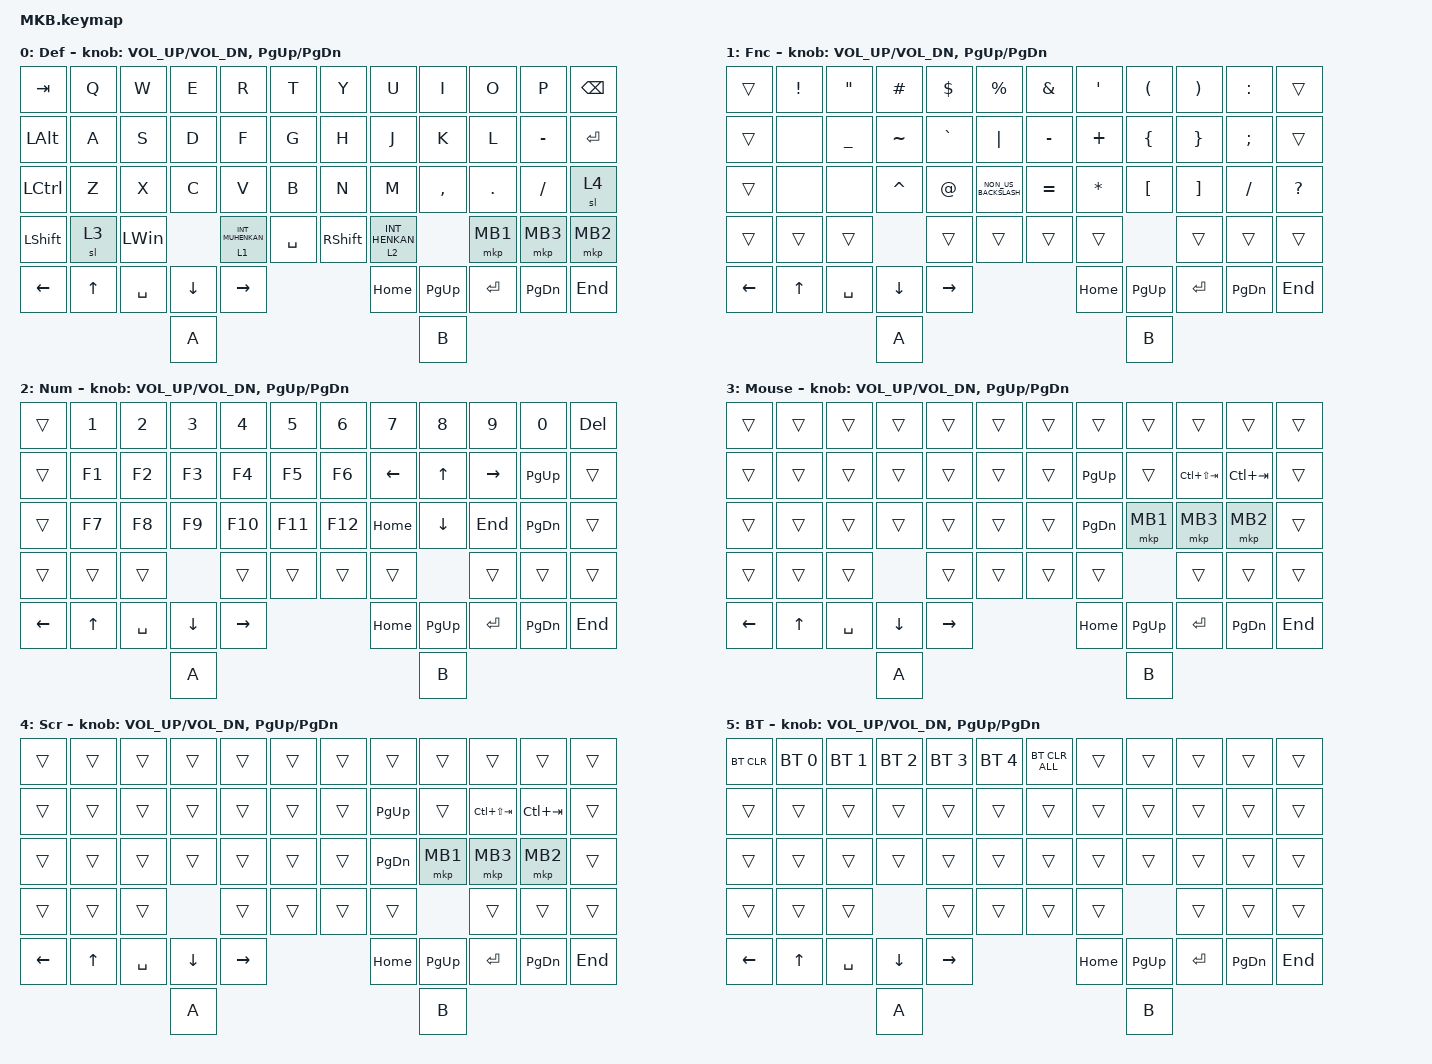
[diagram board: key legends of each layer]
// #include <layout_shift.dtsi>

#include <layout_shift_kp_override.dtsi>
#include <behaviors.dtsi>
#include <dt-bindings/zmk/bt.h>
#include <dt-bindings/zmk/keys.h>
#include <dt-bindings/zmk/pointing.h>

#define DEF 0
#define FUNC 1
#define NUM 2
#define MOUSE 3
#define SCROLL 4
#define BT 5

&mt {
    flavor = "balanced";
    tapping-term-ms = <280>;
    quick-tap-ms = <175>;
    require-prior-idle-ms = <150>;
};

/ {
    combos {
        compatible = "zmk,combos";

        BTLayer {
            bindings = <&sl 5>;
            key-positions = <37 38>;
        };
    };

    keymap {
        compatible = "zmk,keymap";

        default_layer {
            label = "Def";
            bindings = <
&kp TAB           &kp Q   &kp W         &kp E     &kp R               &kp T          &kp Y            &kp U             &kp I      &kp O      &kp P      &kp BACKSPACE
&kp LEFT_ALT      &kp A   &kp S         &kp D     &kp F               &kp G          &kp H            &kp J             &kp K      &kp L      &kp MINUS  &kp ENTER
&kp LEFT_CONTROL  &kp Z   &kp X         &kp C     &kp V               &kp B          &kp N            &kp M             &kp COMMA  &kp DOT    &kp SLASH  &sl 4
&kp LEFT_SHIFT    &sl 3   &kp LEFT_WIN            &lt 1 INT_MUHENKAN  &kp SPACE      &kp RIGHT_SHIFT  &lt 2 INT_HENKAN             &mkp MB1   &mkp MB3   &mkp MB2
&kp LEFT          &kp UP  &kp SPACE     &kp DOWN  &kp RIGHT                                           &kp HOME          &kp PG_UP  &kp ENTER  &kp PG_DN  &kp END
                                        &kp A                                                                           &kp B
            >;

            sensor-bindings = <&inc_dec_kp C_VOL_UP C_VOL_DN &inc_dec_kp PG_UP PG_DN>;
        };

        function_layer {
            label = "Fnc";
            bindings = <
&trans    &kp EXCLAMATION  &kp DOUBLE_QUOTES  &kp HASH   &kp DOLLAR   &kp PERCENT               &kp AMPERSAND  &kp SQT       &kp LEFT_PARENTHESIS  &kp RIGHT_PARENTHESIS  &kp COLON      &trans
&trans    &none            &kp UNDERSCORE     &kp TILDE  &kp GRAVE    &kp PIPE                  &kp MINUS      &kp PLUS      &kp LEFT_BRACE        &kp RIGHT_BRACE        &kp SEMICOLON  &trans
&trans    &none            &none              &kp CARET  &kp AT_SIGN  &kp NON_US_BACKSLASH      &kp EQUAL      &kp ASTERISK  &kp LEFT_BRACKET      &kp RIGHT_BRACKET      &kp SLASH      &kp QUESTION
&trans    &trans           &trans                        &trans       &trans                    &trans         &trans                              &trans                 &trans         &trans
&kp LEFT  &kp UP           &kp SPACE          &kp DOWN   &kp RIGHT                                             &kp HOME      &kp PG_UP             &kp ENTER              &kp PG_DN      &kp END
                                              &kp A                                                                          &kp B
            >;

            sensor-bindings = <&inc_dec_kp C_VOL_UP C_VOL_DN &inc_dec_kp PG_UP PG_DN>;
        };

        num_layer {
            label = "Num";
            bindings = <
&trans    &kp N1  &kp N2     &kp N3    &kp N4     &kp N5       &kp N6   &kp N7    &kp N8        &kp N9           &kp N0         &kp DELETE
&trans    &kp F1  &kp F2     &kp F3    &kp F4     &kp F5       &kp F6   &kp LEFT  &kp UP_ARROW  &kp RIGHT_ARROW  &kp PAGE_UP    &trans
&trans    &kp F7  &kp F8     &kp F9    &kp F10    &kp F11      &kp F12  &kp HOME  &kp DOWN      &kp END          &kp PAGE_DOWN  &trans
&trans    &trans  &trans               &trans     &trans       &trans   &trans                  &trans           &trans         &trans
&kp LEFT  &kp UP  &kp SPACE  &kp DOWN  &kp RIGHT                        &kp HOME  &kp PG_UP     &kp ENTER        &kp PG_DN      &kp END
                             &kp A                                                &kp B
            >;

            sensor-bindings = <&inc_dec_kp C_VOL_UP C_VOL_DN &inc_dec_kp PG_UP PG_DN>;
        };

        mouse_layer {
            label = "Mouse";
            bindings = <
&trans    &trans  &trans     &trans    &trans     &trans      &trans  &trans         &trans     &trans           &trans       &trans
&trans    &trans  &trans     &trans    &trans     &trans      &trans  &kp PAGE_UP    &trans     &kp LC(LS(TAB))  &kp LC(TAB)  &trans
&trans    &trans  &trans     &trans    &trans     &trans      &trans  &kp PAGE_DOWN  &mkp MB1   &mkp MB3         &mkp MB2     &trans
&trans    &trans  &trans               &trans     &trans      &trans  &trans                    &trans           &trans       &trans
&kp LEFT  &kp UP  &kp SPACE  &kp DOWN  &kp RIGHT                      &kp HOME       &kp PG_UP  &kp ENTER        &kp PG_DN    &kp END
                             &kp A                                                   &kp B
            >;

            sensor-bindings = <&inc_dec_kp C_VOL_UP C_VOL_DN &inc_dec_kp PG_UP PG_DN>;
        };

        scroll_layer {
            label = "Scr";
            bindings = <
&trans    &trans  &trans     &trans    &trans     &trans      &trans  &trans         &trans     &trans           &trans       &trans
&trans    &trans  &trans     &trans    &trans     &trans      &trans  &kp PAGE_UP    &trans     &kp LC(LS(TAB))  &kp LC(TAB)  &trans
&trans    &trans  &trans     &trans    &trans     &trans      &trans  &kp PAGE_DOWN  &mkp MB1   &mkp MB3         &mkp MB2     &trans
&trans    &trans  &trans               &trans     &trans      &trans  &trans                    &trans           &trans       &trans
&kp LEFT  &kp UP  &kp SPACE  &kp DOWN  &kp RIGHT                      &kp HOME       &kp PG_UP  &kp ENTER        &kp PG_DN    &kp END
                             &kp A                                                   &kp B
            >;

            sensor-bindings = <&inc_dec_kp C_VOL_UP C_VOL_DN &inc_dec_kp PG_UP PG_DN>;
        };

        bt_layer {
            label = "BT";
            bindings = <
&bt BT_CLR  &bt BT_SEL 0  &bt BT_SEL 1  &bt BT_SEL 2  &bt BT_SEL 3  &bt BT_SEL 4      &bt BT_CLR_ALL  &trans    &trans     &trans     &trans     &trans
&trans      &trans        &trans        &trans        &trans        &trans            &trans          &trans    &trans     &trans     &trans     &trans
&trans      &trans        &trans        &trans        &trans        &trans            &trans          &trans    &trans     &trans     &trans     &trans
&trans      &trans        &trans                      &trans        &trans            &trans          &trans               &trans     &trans     &trans
&kp LEFT    &kp UP        &kp SPACE     &kp DOWN      &kp RIGHT                                       &kp HOME  &kp PG_UP  &kp ENTER  &kp PG_DN  &kp END
                                        &kp A                                                                   &kp B
            >;

            sensor-bindings = <&inc_dec_kp C_VOL_UP C_VOL_DN &inc_dec_kp PG_UP PG_DN>;
        };
    };
};
